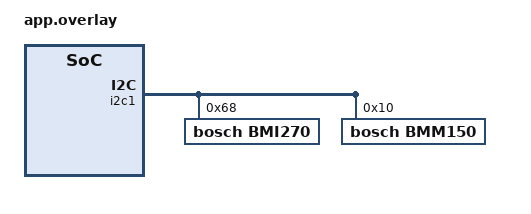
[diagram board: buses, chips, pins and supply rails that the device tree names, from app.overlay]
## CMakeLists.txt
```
cmake_minimum_required(VERSION 3.20.0)
find_package(Zephyr REQUIRED HINTS $ENV{ZEPHYR_BASE})
project(imu_logger)

target_sources(app PRIVATE src/main.c)
```

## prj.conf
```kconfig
# Core
CONFIG_MAIN_STACK_SIZE=4096
CONFIG_HEAP_MEM_POOL_SIZE=4096

# Console for debugging
CONFIG_PRINTK=y

# GPIO + I2C  
CONFIG_GPIO=y
CONFIG_I2C=y

# IMU sensors
CONFIG_SENSOR=y
CONFIG_BMI270=y
CONFIG_BMM150=y
CONFIG_CBPRINTF_FP_SUPPORT=y

# Bluetooth
CONFIG_BT=y
CONFIG_BT_PERIPHERAL=y
CONFIG_BT_DEVICE_NAME="IMU_Logger"
CONFIG_BT_DEVICE_APPEARANCE=833
CONFIG_BT_MAX_CONN=1
CONFIG_BT_MAX_PAIRED=1
CONFIG_BT_USER_DATA_LEN_UPDATE=y

# BLE Security (Pairing/Bonding)
CONFIG_BT_SMP=y
CONFIG_BT_BONDABLE=y
CONFIG_BT_SMP_ENFORCE_MITM=n
CONFIG_BT_SMP_ALLOW_UNAUTH_OVERWRITE=y

# Increase MTU and Buffers for faster throughput
CONFIG_BT_L2CAP_TX_MTU=251
CONFIG_BT_BUF_ACL_TX_SIZE=251
CONFIG_BT_BUF_ACL_RX_SIZE=251
CONFIG_BT_BUF_ACL_TX_COUNT=10
CONFIG_BT_BUF_EVT_RX_COUNT=15

# GATT
CONFIG_BT_GATT_CLIENT=y
CONFIG_BT_ATT_PREPARE_COUNT=2

# Output
CONFIG_BUILD_OUTPUT_BIN=y
CONFIG_BUILD_OUTPUT_HEX=y
```

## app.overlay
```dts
/*
 * Copyright (c) 2023
 *
 * SPDX-License-Identifier: Apache-2.0
 */

/* The Arduino Nano 33 BLE Rev2 uses BMI270 and BMM150 instead of LSM9DS1 */

/* Disable default sensors instead of deleting them to avoid alias errors */
&lsm9ds1 {
	status = "disabled";
};

&lsm9ds1_mag {
	status = "disabled";
};

&i2c1 {
	bmi270: bmi270@68 {
		compatible = "bosch,bmi270";
		reg = <0x68>;
	};

	bmm150: bmm150@10 {
		compatible = "bosch,bmm150";
		reg = <0x10>;
	};
};
```

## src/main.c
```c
#include <zephyr/kernel.h>
#include <zephyr/device.h>
#include <zephyr/drivers/sensor.h>
#include <zephyr/drivers/gpio.h>
#include <zephyr/bluetooth/bluetooth.h>
#include <zephyr/bluetooth/gap.h>
#include <zephyr/bluetooth/gatt.h>
#include <zephyr/bluetooth/uuid.h>
#include <zephyr/sys/printk.h>

#define LED0_NODE DT_ALIAS(led0)
static const struct gpio_dt_spec led = GPIO_DT_SPEC_GET(LED0_NODE, gpios);

/* Sensor devices */
static const struct device *bmi270 = DEVICE_DT_GET(DT_NODELABEL(bmi270));
static const struct device *bmm150 = DEVICE_DT_GET(DT_NODELABEL(bmm150));

/* Custom UUIDs for IMU Service */
static const struct bt_uuid_128 imu_svc_uuid = BT_UUID_INIT_128(
    BT_UUID_128_ENCODE(0x12345678, 0x1234, 0x5678, 0x1234, 0x56789abcdef0));
static const struct bt_uuid_128 imu_data_uuid = BT_UUID_INIT_128(
    BT_UUID_128_ENCODE(0x12345678, 0x1234, 0x5678, 0x1234, 0x56789abcdef1));

/* IMU data packet (36 bytes: 9 floats) */
struct imu_packet {
    float accel_x, accel_y, accel_z;
    float gyro_x, gyro_y, gyro_z;
    float mag_x, mag_y, mag_z;
} __packed;


/* Buffering Configuration */

#define BUFFER_DURATION_SEC 5

#define SAMPLE_RATE_HZ 50

#define BUFFER_SIZE (BUFFER_DURATION_SEC * SAMPLE_RATE_HZ)
#define SAMPLES_PER_PACKET 6

#define BATCH_PACKET_SIZE (SAMPLES_PER_PACKET * sizeof(struct imu_packet))




enum app_state {

    STATE_RECORDING,

    STATE_SENDING,

};



static struct imu_packet imu_buffer[BUFFER_SIZE];

static uint16_t buffer_index = 0;

static enum app_state current_state = STATE_RECORDING;


static struct imu_packet current_data;
static bool notify_enabled = false;
static struct bt_conn *default_conn;

/* BLE notification config changed callback */
static void imu_ccc_cfg_changed(const struct bt_gatt_attr *attr, uint16_t value)
{
    notify_enabled = (value == BT_GATT_CCC_NOTIFY);
    printk("IMU notifications %s\n", notify_enabled ? "enabled" : "disabled");
    if (notify_enabled && device_is_ready(led.port)) {
        gpio_pin_set_dt(&led, 1);
    } else if (device_is_ready(led.port)) {
        gpio_pin_set_dt(&led, 0);
    }
}

/* GATT Service Definition */
BT_GATT_SERVICE_DEFINE(imu_svc,
    BT_GATT_PRIMARY_SERVICE(&imu_svc_uuid),
    BT_GATT_CHARACTERISTIC(&imu_data_uuid,
        BT_GATT_CHRC_NOTIFY,
        BT_GATT_PERM_NONE,
        NULL, NULL, &current_data),
    BT_GATT_CCC(imu_ccc_cfg_changed, BT_GATT_PERM_READ | BT_GATT_PERM_WRITE_ENCRYPT),

);

/* Advertising data */
static const struct bt_data ad[] = {
    BT_DATA_BYTES(BT_DATA_FLAGS, (BT_LE_AD_GENERAL | BT_LE_AD_NO_BREDR)),
    BT_DATA_BYTES(BT_DATA_UUID128_ALL,
        0xf0, 0xde, 0xbc, 0x9a, 0x78, 0x56, 0x34, 0x12,
        0x34, 0x12, 0x78, 0x56, 0x34, 0x12, 0x78, 0x56),
};
static const struct bt_data sd[] = {
    BT_DATA(BT_DATA_NAME_COMPLETE, CONFIG_BT_DEVICE_NAME, sizeof(CONFIG_BT_DEVICE_NAME) - 1),
};


/* Security callback */

static void security_changed(struct bt_conn *conn, bt_security_t level,

                             enum bt_security_err err)

{

    char addr[BT_ADDR_LE_STR_LEN];

    bt_addr_le_to_str(bt_conn_get_dst(conn), addr, sizeof(addr));



    if (!err) {

        printk("Security changed: %s level %u\\n", addr, level);

    } else {

        printk("Security failed: %s level %u err %d\\n", addr, level, err);

    }

}



/* Authentication info callbacks */

static void pairing_complete(struct bt_conn *conn, bool bonded)

{

    printk("Pairing Complete (bonded: %d)\\n", bonded);

}



static void pairing_failed(struct bt_conn *conn, enum bt_security_err reason)

{

    printk("Pairing Failed (reason %d)\\n", reason);

}



/* Empty auth callbacks to enable Just Works pairing */

static const struct bt_conn_auth_cb auth_callbacks = {

    .pairing_confirm = NULL,

    .cancel = NULL,

};



static struct bt_conn_auth_info_cb auth_info_callbacks = {

    .pairing_complete = pairing_complete,

    .pairing_failed = pairing_failed,

};



/* Connection callbacks */
static void connected(struct bt_conn *conn, uint8_t err)
{
    if (err) {
        printk("Connection failed (err %u)\n", err);
    } else {
        printk("Connected!\n");
        default_conn = bt_conn_ref(conn);
        
        /* Request Data Length Update */
        struct bt_conn_le_data_len_param param = {
            .tx_max_len = 251,

            .tx_max_time = 2120,
        };
        bt_conn_le_data_len_update(conn, &param);
        

        /* Request fast connection interval (7.5ms) */

        struct bt_le_conn_param *param_conn = BT_LE_CONN_PARAM(6, 6, 0, 400);

        bt_conn_le_param_update(conn, param_conn);

    }
}

static void disconnected(struct bt_conn *conn, uint8_t reason)
{
    printk("Disconnected (reason %u)\n", reason);
    notify_enabled = false;
    if (device_is_ready(led.port)) {
        gpio_pin_set_dt(&led, 0);
    }
    if (default_conn) {
        bt_conn_unref(default_conn);
        default_conn = NULL;
    }
}

BT_CONN_CB_DEFINE(conn_callbacks) = {
    .connected = connected,
    .disconnected = disconnected,
    .security_changed = security_changed,

};

void main(void)
{
    int err;
    printk("\n\n=== BLE IMU Streamer v1.2 (Full Data) ===\n");
    printk("Board: Arduino Nano 33 BLE Rev2\n");
    printk("Sample Rate: 50Hz\n");

    if (device_is_ready(led.port)) {
        gpio_pin_configure_dt(&led, GPIO_OUTPUT_INACTIVE);
    }

    /* Sensors init */
    if (device_is_ready(bmi270)) {
        printk("BMI270 ready\n");
    }
    if (device_is_ready(bmm150)) {
        printk("BMM150 ready\n");
    }







    /* Register authentication info callbacks */

    /* Register auth callbacks to enable pairing */

    bt_conn_auth_cb_register(&auth_callbacks);

    bt_conn_auth_info_cb_register(&auth_info_callbacks);

    err = bt_enable(NULL);
    if (err) {
        return;
    }

    err = bt_le_adv_start(BT_LE_ADV_CONN_FAST_1, ad, ARRAY_SIZE(ad), sd, ARRAY_SIZE(sd));
    if (err) {
        return;
    }

    struct sensor_value accel[3], gyro[3], mag[3];

    int64_t next_time = k_uptime_get();

    const int interval_ms = 1000 / SAMPLE_RATE_HZ;

    uint32_t sample_count = 0;



    while (1) {

        if (current_state == STATE_RECORDING) {

            /* LED: Blink slowly (1Hz) */

            if (device_is_ready(led.port)) {

                if (sample_count % (SAMPLE_RATE_HZ / 2) == 0) {

                    gpio_pin_toggle_dt(&led);

                }

            }



            /* Read Sensors */

            if (device_is_ready(bmi270)) {

                sensor_sample_fetch(bmi270);

                sensor_channel_get(bmi270, SENSOR_CHAN_ACCEL_XYZ, accel);

                sensor_channel_get(bmi270, SENSOR_CHAN_GYRO_XYZ, gyro);

                

                imu_buffer[buffer_index].accel_x = sensor_value_to_double(&accel[0]);

                imu_buffer[buffer_index].accel_y = sensor_value_to_double(&accel[1]);

                imu_buffer[buffer_index].accel_z = sensor_value_to_double(&accel[2]);

                imu_buffer[buffer_index].gyro_x = sensor_value_to_double(&gyro[0]);

                imu_buffer[buffer_index].gyro_y = sensor_value_to_double(&gyro[1]);

                imu_buffer[buffer_index].gyro_z = sensor_value_to_double(&gyro[2]);

            }



            if (device_is_ready(bmm150)) {

                sensor_sample_fetch(bmm150);

                sensor_channel_get(bmm150, SENSOR_CHAN_MAGN_XYZ, mag);

                

                imu_buffer[buffer_index].mag_x = sensor_value_to_double(&mag[0]);

                imu_buffer[buffer_index].mag_y = sensor_value_to_double(&mag[1]);

                imu_buffer[buffer_index].mag_z = sensor_value_to_double(&mag[2]);

            }



            buffer_index++;

            if (buffer_index >= BUFFER_SIZE) {

                printk("Buffer full (%d samples). Switching to SENDING state.\n", buffer_index);

                current_state = STATE_SENDING;

                /* LED Solid ON during transmission */

                if (device_is_ready(led.port)) {

                    gpio_pin_set_dt(&led, 1);

                }

            }



            /* Timing control */

            sample_count++;

            next_time += interval_ms;

            int64_t sleep = next_time - k_uptime_get();

            if (sleep > 0) {

                k_msleep(sleep);

            }



        } else if (current_state == STATE_SENDING) {

            if (notify_enabled && default_conn) {

                printk("Sending %d buffered samples in packed batches...\n", buffer_index);

                

                /* Temporary buffer for packed data */

                uint8_t batch_buffer[BATCH_PACKET_SIZE];

                

                for (int i = 0; i < buffer_index; i += SAMPLES_PER_PACKET) {

                    /* Calculate how many samples to pack (handle last partial batch) */

                    int samples_to_pack = SAMPLES_PER_PACKET;

                    if (i + samples_to_pack > buffer_index) {

                        samples_to_pack = buffer_index - i;

                    }

                    

                    /* Pack data */

                    memcpy(batch_buffer, &imu_buffer[i], samples_to_pack * sizeof(struct imu_packet));

                    

                    /* Send notification */

                    int err = bt_gatt_notify(default_conn, &imu_svc.attrs[2], batch_buffer, samples_to_pack * sizeof(struct imu_packet));

                    if (err) {

                        printk("Notify failed (err %d)\n", err);

                        k_msleep(10); /* Retry delay */

                        i -= SAMPLES_PER_PACKET; /* Retry this batch */

                    }

                }

                printk("All sent. Clearing buffer.\n");

            } else {

                printk("Connection lost or notifications disabled. Dropping data.\n");

            }



            /* Reset buffer and state */

            buffer_index = 0;

            current_state = STATE_RECORDING;

            sample_count = 0;

            next_time = k_uptime_get(); /* Reset timing */

        }

    }

}
```
